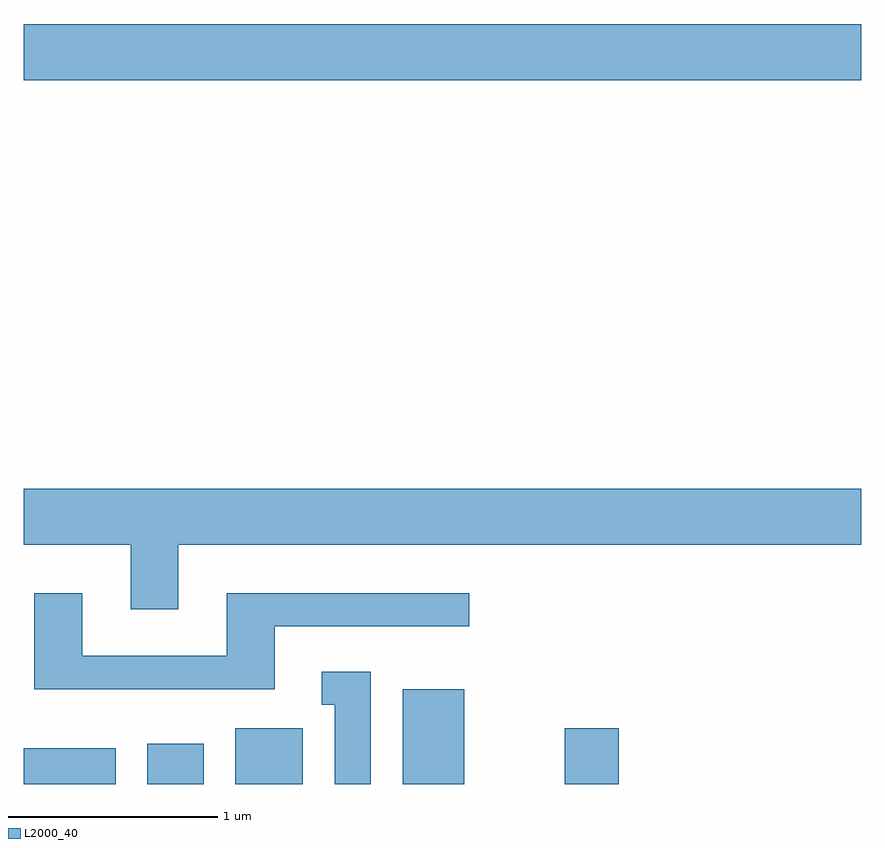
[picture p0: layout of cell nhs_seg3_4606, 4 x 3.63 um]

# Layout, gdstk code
import gdstk
lib = gdstk.Library(unit=1e-6, precision=1e-09)
def R(c, l, rs):  # rectangles x0, y0, x1, y1
    for r in rs: c.add(gdstk.rectangle(r[:2], r[2:], *l))
def P(c, l, *ps):  # polygons
    for p in ps: c.add(gdstk.Polygon(p, *l))
L2000_40 = (2000, 40)

nhs_seg3_4606 = lib.new_cell('nhs_seg3_4606')
R(nhs_seg3_4606, L2000_40, [(319.611,1215.892,320.049,1216.064), (320.201,1215.892,320.469,1216.084), (320.621,1215.892,320.944,1216.159), (321.421,1215.892,321.714,1216.344), (322.196,1215.892,322.454,1216.159), (319.611,1219.256,323.611,1219.524)])
P(nhs_seg3_4606, L2000_40, [(320.349,1217.036),(323.611,1217.036),(323.611,1217.304),(319.611,1217.304),(319.611,1217.036),(320.121,1217.036),(320.121,1216.726),(320.349,1216.726)],
  [(320.809,1216.646),(321.738,1216.646),(321.738,1216.804),(320.581,1216.804),(320.581,1216.504),(319.889,1216.504),(319.889,1216.804),(319.661,1216.804),(319.661,1216.346),(320.809,1216.346)],
  [(321.269,1216.429),(321.033,1216.429),(321.033,1216.271),(321.096,1216.271),(321.096,1215.892),(321.269,1215.892)])

lib.write_gds('nhs_seg3_4606.gds')
